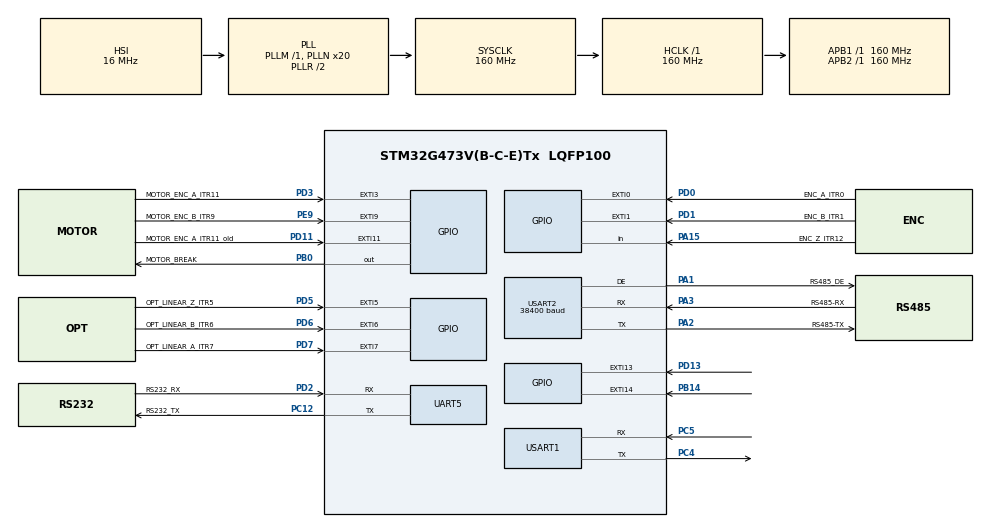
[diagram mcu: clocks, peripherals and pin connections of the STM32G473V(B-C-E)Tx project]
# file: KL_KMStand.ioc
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Mcu.Family=STM32G4
Mcu.Name=STM32G473V(B-C-E)Tx
Mcu.Package=LQFP100
NVIC.EXTI0_IRQn=true\:0\:0\:false\:false\:true\:true\:true\:true
NVIC.EXTI15_10_IRQn=true\:0\:0\:false\:false\:true\:true\:true\:true
NVIC.EXTI1_IRQn=true\:0\:0\:false\:false\:true\:true\:true\:true
NVIC.EXTI3_IRQn=true\:0\:0\:false\:false\:true\:true\:true\:true
NVIC.EXTI9_5_IRQn=true\:0\:0\:false\:false\:true\:true\:true\:true
NVIC.PriorityGroup=NVIC_PRIORITYGROUP_4
NVIC.TIM1_BRK_TIM15_IRQn=true\:0\:0\:false\:false\:true\:true\:true\:true
NVIC.TIM1_CC_IRQn=true\:0\:0\:false\:false\:true\:true\:true\:true
NVIC.TIM1_TRG_COM_TIM17_IRQn=true\:0\:0\:false\:false\:true\:true\:true\:true
NVIC.TIM1_UP_TIM16_IRQn=true\:0\:0\:false\:false\:true\:true\:true\:true
NVIC.TIM2_IRQn=true\:0\:0\:false\:false\:true\:true\:true\:true
NVIC.TIM4_IRQn=true\:0\:0\:false\:false\:true\:true\:true\:true
NVIC.UART5_IRQn=true\:0\:0\:false\:false\:true\:true\:true\:true
NVIC.USART1_IRQn=true\:0\:0\:false\:false\:true\:true\:true\:true
NVIC.USART2_IRQn=true\:0\:0\:false\:false\:true\:true\:true\:true
PA15.GPIO_Label=ENC_Z_ITR12
PA15.Signal=GPIO_Input
PB0.GPIO_Label=MOTOR_BREAK
PB0.GPIO_ModeDefaultOutputPP=GPIO_MODE_OUTPUT_PP
PB0.GPIO_PuPd=GPIO_PULLDOWN
PB0.PinState=GPIO_PIN_SET
PB0.Signal=GPIO_Output
PA3.GPIO_Label=RS485-RX
PA3.Mode=Asynchronous
PA3.Signal=USART2_RX
PB14.GPIO_ModeDefaultEXTI=GPIO_MODE_IT_FALLING
PB14.Signal=GPXTI14
PB3.Signal=SPI3_SCK
PB4.Signal=SPI3_MISO
PC12.GPIO_Label=RS232_TX
PC12.Mode=Asynchronous
PC12.Signal=UART5_TX
PC4.Mode=Asynchronous
PC4.Signal=USART1_TX
PC5.Mode=Asynchronous
PC5.Signal=USART1_RX
PD0.GPIO_Label=ENC_A_ITR0
PD0.GPIO_ModeDefaultEXTI=GPIO_MODE_IT_RISING_FALLING
PD0.GPIO_PuPd=GPIO_NOPULL
PD0.Signal=GPXTI0
PD1.GPIO_Label=ENC_B_ITR1
PD1.GPIO_ModeDefaultEXTI=GPIO_MODE_IT_RISING_FALLING
PD1.GPIO_PuPd=GPIO_NOPULL
PD1.Signal=GPXTI1
PD11.GPIO_Label=MOTOR_ENC_A_ITR11_old
PD11.GPIO_ModeDefaultEXTI=GPIO_MODE_IT_RISING
PD11.Signal=GPXTI11
PA1.GPIO_Label=RS485_DE
PA1.Mode=Hardware Flow Control (RS485)
PA1.Signal=USART2_DE
PD13.GPIO_ModeDefaultEXTI=GPIO_MODE_IT_FALLING
PD13.Signal=GPXTI13
PD2.GPIO_Label=RS232_RX
PD2.Mode=Asynchronous
PD2.Signal=UART5_RX
PD3.GPIO_Label=MOTOR_ENC_A_ITR11
PD3.GPIO_ModeDefaultEXTI=GPIO_MODE_IT_RISING_FALLING
PD3.Signal=GPXTI3
PD5.GPIO_Label=OPT_LINEAR_Z_ITR5
PD5.GPIO_ModeDefaultEXTI=GPIO_MODE_IT_RISING
PD5.Signal=GPXTI5
PD6.GPIO_Label=OPT_LINEAR_B_ITR6
PD6.Signal=GPXTI6
PD7.GPIO_Label=OPT_LINEAR_A_ITR7
PD7.Signal=GPXTI7
PA2.GPIO_Label=RS485-TX
PA2.Mode=Asynchronous
PA2.Signal=USART2_TX
PE9.GPIO_Label=MOTOR_ENC_B_ITR9
PE9.GPIO_ModeDefaultEXTI=GPIO_MODE_IT_RISING_FALLING
PE9.Signal=GPXTI9
ProjectManager.HeapSize=0x200
ProjectManager.StackSize=0x400
ProjectManager.TargetToolchain=STM32CubeIDE
RCC.ADC12Freq_Value=160000000
RCC.ADC345Freq_Value=160000000
RCC.AHBFreq_Value=160000000
RCC.APB1Freq_Value=160000000
RCC.APB1TimFreq_Value=160000000
RCC.APB2Freq_Value=160000000
RCC.APB2TimFreq_Value=160000000
RCC.CortexFreq_Value=160000000
RCC.EXTERNAL_CLOCK_VALUE=12288000
RCC.HCLKFreq_Value=160000000
RCC.HSE_VALUE=8000000
RCC.HSI48_VALUE=48000000
RCC.HSI_VALUE=16000000
RCC.LSE_VALUE=32768
RCC.PLLN=20
RCC.SYSCLKFreq_VALUE=160000000
RCC.SYSCLKSource=RCC_SYSCLKSOURCE_PLLCLK
RCC.USBFreq_Value=160000000
RCC.VCOOutputFreq_Value=320000000
TIM1.AutoReloadPreload=TIM_AUTORELOAD_PRELOAD_DISABLE
TIM1.PeriodNoDither=49999
TIM1.Prescaler=319
TIM2.AutoReloadPreload=TIM_AUTORELOAD_PRELOAD_DISABLE
TIM2.ClockDivision=TIM_CLOCKDIVISION_DIV1
TIM2.PeriodNoDither=8499999
TIM2.Prescaler=1
USART1.VirtualMode-Asynchronous=VM_ASYNC
USART2.BaudRate=38400
USART2.VirtualMode-Asynchronous=VM_ASYNC
USART2.VirtualMode-Hardware\ Flow\ Control\ (RS485)=VM_ASYNC
VP_SYS_VS_DBSignals.Mode=DisableDeadBatterySignals
VP_TIM1_VS_ClockSourceINT.Mode=Internal
VP_TIM2_VS_ClockSourceINT.Mode=Internal
VP_TIM4_VS_ClockSourceINT.Mode=Internal
board=custom

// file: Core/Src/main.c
/* USER CODE BEGIN Header */
/**
  ******************************************************************************
  * @file           : main.c
  * @brief          : Main program body
  ******************************************************************************
  * @attention
  *
  * Copyright (c) 2025 STMicroelectronics.
  * All rights reserved.
  *
  * This software is licensed under terms that can be found in the LICENSE file
  * in the root directory of this software component.
  * If no LICENSE file comes with this software, it is provided AS-IS.
  *
  ******************************************************************************
  */
/* USER CODE END Header */
#include "main.h"
#include "tim.h"
#include "usart.h"
#include "gpio.h"

/* USER CODE BEGIN Includes */
#include <device.h>
#include <stdbool.h>
#include <string.h>
#include <math.h>
#include "mb.h"
#include "mbport.h"
#include "hx711.h"
#include "parser.h"
//#include
/* USER CODE END Includes */

/* USER CODE BEGIN PD */
#define UART_START_BYTE 0xFE
#define UART_STOP_BYTE 0xFF
#define UART_TX_BUF_LEN 3 + sizeof(uint32_t) + sizeof(long int)

#define SLAVE_ID    1
#define MODBUS_FUNC_WRITE_REG  0x06
#define SLAVE_ADDR  1
#define STREAM_PERIOD_MS 100U
#define MODE1_SEEK_MIN_SPEED 50
#define MODE1_SEEK_MIN_OFFSET_DEG 1.0f
#define MODE1_SEEK_MIN_TOL_DEG 0.5f
#define MODE1_FREQ_RPM_SCALE 1.0f
#define MODE1_PID_DEFAULT_P 30.0f
#define MODE1_PID_DEFAULT_I 1.0f
#define MODE1_PID_DEFAULT_D 5.0f// 0.0f
#define MODE1_PID_BASE_SPEED 50.0f
#define MODE1_MOTOR_COMMAND_SCALE 1.10f
#define MODE1_MOTOR_SPEED_MIN 1.0f
#define MODE1_MOTOR_SPEED_MAX 1500.0f
#define MODE1_PID_INTEGRAL_LIMIT 100.0f
/* Each ramp covers 20% of the angular stroke. */
#define MODE1_RAMP_FRACTION 0.20f
#define MODE1_CREEP_RPM_RATIO 0.05f
#define MODE2_ANGLE_TOL_DEG 0.5f
#define MODE2_DEFAULT_SPEED 50.0f
/* USER CODE END PD */

void SystemClock_Config(void);
/* USER CODE BEGIN PFP */
extern volatile hx711_t hx711_handle;
/* USER CODE END PFP */

/* USER CODE BEGIN 0 */
extern volatile long int optical_count;
extern volatile bool new_data;
extern volatile int32_t encoder_position;  // текущая позиция энкодера
extern volatile int32_t last_position;     // позиция на предыдущем измерении
extern volatile float encoder_rpm;      // скорость вращения
extern volatile uint32_t last_tick;
extern volatile int32_t motor_encoder_position;  // текущая позиция энкодера
extern volatile int32_t motor_last_position;     // позиция на предыдущем измерении
extern volatile float motor_encoder_rpm;      // скорость вращения
extern volatile uint32_t motor_last_tick;
extern volatile bool encoder_calibrated;
int32_t mode1_start = 0;

//Основные переменные характеризующие состояние стенда
extern volatile int opt_lim_1;// пределы шкалы оптической линейки
extern volatile int opt_lim_2;
volatile float encoder_lim_1 = 0;
volatile float encoder_lim_2 = 0;

extern volatile bool limit_flag_1;//флаги срабатывания концевиков
extern volatile bool limit_flag_2;

extern float tenso_data;//текущая нагрузка
extern float set_tenso_data;//заданная требуемая нагрузка

extern float velocity;//текущая скорость
extern float set_velocity;//заданная тремуемая скорость

extern float position;//текущая позиция
extern float set_default_position;//заданное нулевое положение

extern float angle; //текущий угол
extern float set_angle; //заданное значение угла

int t = 0;
int t0 = 0;
int v0 = 10;
int v1 = 50;
int time1 = 1;

float zero_position = 0.0;
volatile int state = 0;
int prev_state = 0;
int step = 1;
int amplitude;
int angle_amplitude;
int regime;
int direction;
int count = 0;
int pull_number;
int set_current = 60;
volatile int stop_count = 0;
int opt_flag_1 = 0;
int opt_flag_2 = 0;
int z1 = 0;
uint8_t rx_byte = 0;
int control = 0;
int dir_ctrl = 1;
int start_tick;
int ramp = 0;
float k_p = 0.2;
int x1 = 0;
float angle_velocity;
float min_angle = 0;
float max_angle = 0;
float angle_velocity_ref;
float mode1_pid_integral = 0.0f;
float mode1_pid_prev_measurement = 0.0f;
uint32_t mode1_pid_last_tick = 0;
float mode1_profile_rpm = 0.0f;
uint32_t mode1_profile_last_tick = 0;

#pragma pack(push, 1)

typedef struct {
    float min_angle;
    float max_angle;
    float freq;
    int count;
    float moment;
} mode1_config_t;

typedef struct {
    float speed;
    float start_angle;
    float end_angle;
    uint32_t hold_ms;
} mode2_config_t;

typedef struct {
    float torque;
    uint32_t duration;
    uint8_t direction;
} torque_t;

typedef struct {
    int ts_ms;
    float load;
    float pos;
    float angle1;
    float angle2;
    float temp;
    uint16_t flags;
    uint32_t cycles;
    /* Optional diagnostics appended after the compatible 30-byte prefix. */
    float target_deg_s;
    float motor_rpm;
    int32_t motor_command;
    uint16_t control_flags; /* bit0: Mode1 tracking, bit1: speed limit,
                              bit2: UART busy, bit3: UART error/timeout */
} stream_data_t;

typedef struct {
    float p;
    float i;
    float d;
} pid_t;

#pragma pack(pop)

_Static_assert(sizeof(stream_data_t) == 44U, "Telemetry layout must match the desktop decoder");

mode1_config_t g_mode1_cfg;
mode2_config_t g_mode2_cfg;
torque_t       g_torque_cmd;
pid_t          g_pid_cfg = {MODE1_PID_DEFAULT_P, MODE1_PID_DEFAULT_I, MODE1_PID_DEFAULT_D};
stream_data_t  g_stream_data;
volatile int requested_mode_after_calib = 0;
uint32_t last_stream_tick = 0;

enum states
{
	INITIALIZATION = 0x00,
	CALIBRATION = 0x01,
	MODE1_CONFIG = 0x10,
	MODE1_START = 0x11,
	MODE1_STOP = 0x12,
	MODE2_CONFIG = 0x20,
	MODE2_START = 0x21,
	MODE2_HOLD = 0x22,
	MODE2_RETURN = 0x23,
	MODE2_STOP = 0x24,
	MODE3_CONFIG = 0x30,
	MODE3_START = 0x31,
	MODE3_STOP = 0x32,
	ACK = 0x33,
	STREAM_DATA = 0x40
};

enum calibration_states
{
	RIGHT_RUN_FAST_CALIB = 0,
	RIGHT_RUN_SLOW_CALIB,
	LEFT_RUN_FAST_CALIB,
	LEFT_RUN_SLOW_CALIB,
	RIGHT_LOGIC,
	LEFT_LOGIC,
	END
};

enum mode2_phases
{
	MODE2_PHASE_IDLE = 0,
	MODE2_PHASE_SEEK_START_THEN_END,
	MODE2_PHASE_MOVE_TO_END,
	MODE2_PHASE_MOVE_TO_START
};

uint8_t calib_state = 0;
uint8_t calib_state_prev = 0;
uint8_t non_limit_switch_motion = 0;
uint8_t motion_ctrl = 1;
uint8_t lside = 0;
uint8_t mode1_seek_min = 0;
uint8_t mode2_configured = 0;
uint8_t mode2_phase = MODE2_PHASE_IDLE;
uint8_t mode2_next_target_is_end = 0;
uint8_t mode2_first_run = 0;
volatile uint8_t mode2_stop_requested = 0;
volatile uint8_t tenso_zero_requested = 0;
volatile uint8_t emergency_stop_requested = 0;
volatile uint8_t emergency_stop_reason = STOP_REASON_NONE;
volatile int8_t motor_motion_direction = 0;
float mode2_target_angle = 0.0f;

mode1_config_t cfg;

static float Mode1_AbsFloat(float value);
static void Mode1_ResetPid(void);
static int Mode1_GetPidMotorSpeed(float target_encoder_rpm);
static void Mode1_ResetProfile(void);
static float Mode1_GetProfileSpeed(void);
static float ClampAngleToCalibratedRange(float target);
static void EmergencyStopNow(uint8_t reason);
static uint8_t SafeMotorMove(int current, int velocity, int direction);
static void Mode2_ResetToStartState(void);
static void Mode2_StopAndResetToStart(void);
static void Mode2_BeginNextMove(void);

void Mode1_Handle(const mode1_config_t* cfg)
{
    g_mode1_cfg = *cfg;
}

void Mode2_Handle(const mode2_config_t* cfg)
{
    g_mode2_cfg = *cfg;
}

void Torque_Handle(const torque_t* t)
{
    g_torque_cmd = *t;
}

void PID_Handle(const pid_t* pid)
{
    g_pid_cfg = *pid;
    if ((g_pid_cfg.p == 0.0f) && (g_pid_cfg.i == 0.0f) && (g_pid_cfg.d == 0.0f))
    {
        g_pid_cfg.p = MODE1_PID_DEFAULT_P;
        g_pid_cfg.i = MODE1_PID_DEFAULT_I;
        g_pid_cfg.d = MODE1_PID_DEFAULT_D;
    }
    Mode1_ResetPid();
}

void Stream_Handle(const stream_data_t* data)
{
    g_stream_data = *data;
}

static float Mode1_AbsFloat(float value)
{
    return (value < 0.0f) ? -value : value;
}

static void Mode1_ResetPid(void)
{
    mode1_pid_integral = 0.0f;
    mode1_pid_prev_measurement = Mode1_AbsFloat(encoder_rpm);
    mode1_pid_last_tick = HAL_GetTick();
}

/* The square-root braking envelope gives constant angular deceleration.
 * Time-limited acceleration also works when starting inside the stroke. */
static void Mode1_ResetProfile(void)
{
    mode1_profile_rpm = 0.0f;
    mode1_profile_last_tick = HAL_GetTick();
}

static float Mode1_GetProfileSpeed(void)
{
    uint32_t now = HAL_GetTick();
    float dt = (float)(now - mode1_profile_last_tick) / 1000.0f;
    mode1_profile_last_tick = now;
    if (dt > 0.2f)
    {
        dt = 0.2f;
    }

    float ramp_degrees = (max_angle - min_angle) * MODE1_RAMP_FRACTION;
    if (ramp_degrees <= 0.0f || angle_velocity_ref <= 0.0f)
    {
        mode1_profile_rpm = 0.0f;
        return 0.0f;
    }

    /* RPM * 6 = deg/s. v^2 = 2*a*s. */
    float acceleration_rpm_s = 3.0f * angle_velocity_ref * angle_velocity_ref / ramp_degrees;
    float remaining_degrees = (direction > 0) ? max_angle - angle : angle - min_angle;
    if (remaining_degrees < 0.0f)
    {
        remaining_degrees = 0.0f;
    }
    float braking_rpm = sqrtf(acceleration_rpm_s * remaining_degrees / 3.0f);
    /* A small final approach avoids stopping short due to encoder quantization. */
    float creep_rpm = angle_velocity_ref * MODE1_CREEP_RPM_RATIO;
    if (braking_rpm < creep_rpm)
    {
        braking_rpm = creep_rpm;
    }
    if (braking_rpm > angle_velocity_ref)
    {
        braking_rpm = angle_velocity_ref;
    }

    mode1_profile_rpm += acceleration_rpm_s * dt;
    if (mode1_profile_rpm > braking_rpm)
    {
        mode1_profile_rpm = braking_rpm;
    }
    return mode1_profile_rpm;
}

static int Mode1_GetPidMotorSpeed(float target_encoder_rpm)
{
    uint32_t now = HAL_GetTick();
    float dt = (float)(now - mode1_pid_last_tick) / 1000.0f;
    if (dt < 0.001f)
    {
        dt = 0.001f;
    }
    else if (dt > 0.2f)
    {
        dt = 0.2f;
    }
    mode1_pid_last_tick = now;

    if (target_encoder_rpm < 0.0f)
    {
        target_encoder_rpm = 0.0f;
    }

    float measured_encoder_rpm = Mode1_AbsFloat(encoder_rpm);
    float error = target_encoder_rpm - measured_encoder_rpm;

    float previous_integral = mode1_pid_integral;
    mode1_pid_integral += error * dt;
    if (mode1_pid_integral > MODE1_PID_INTEGRAL_LIMIT)
    {
        mode1_pid_integral = MODE1_PID_INTEGRAL_LIMIT;
    }
    else if (mode1_pid_integral < -MODE1_PID_INTEGRAL_LIMIT)
    {
        mode1_pid_integral = -MODE1_PID_INTEGRAL_LIMIT;
    }

    /* Differentiate the measurement to avoid a kick as the profile changes. */
    float derivative = -(measured_encoder_rpm - mode1_pid_prev_measurement) / dt;
    mode1_pid_prev_measurement = measured_encoder_rpm;

    float target_scale = 1.0f;
    if (angle_velocity_ref > 0.001f)
    {
        target_scale = target_encoder_rpm / angle_velocity_ref;
    }
    if (target_scale < 0.0f)
    {
        target_scale = 0.0f;
    }
    else if (target_scale > 1.0f)
    {
        target_scale = 1.0f;
    }

    float motor_speed = MODE1_PID_BASE_SPEED * target_scale
                      + g_pid_cfg.p * error
                      + g_pid_cfg.i * mode1_pid_integral
                      + g_pid_cfg.d * derivative;

    motor_speed *= MODE1_MOTOR_COMMAND_SCALE;

    if (motor_speed < MODE1_MOTOR_SPEED_MIN)
    {
        motor_speed = MODE1_MOTOR_SPEED_MIN;
        if (error < 0.0f)
        {
            mode1_pid_integral = previous_integral;
        }
    }
    else if (motor_speed > MODE1_MOTOR_SPEED_MAX)
    {
        motor_speed = MODE1_MOTOR_SPEED_MAX;
        if (error > 0.0f)
        {
            mode1_pid_integral = previous_integral;
        }
    }

    return (int)motor_speed;
}

static float ClampAngleToCalibratedRange(float target)
{
    if (!encoder_calibrated)
    {
        return target;
    }

    float mech_min = 180.0f;
    float mech_max = encoder_lim_2 - encoder_lim_1 + 180.0f;
    if (mech_min > mech_max)
    {
        float tmp = mech_min;
        mech_min = mech_max;
        mech_max = tmp;
    }
    if (target < mech_min)
    {
        return mech_min;
    }
    if (target > mech_max)
    {
        return mech_max;
    }
    return target;
}

static void Mode2_ResetToStartState(void)
{
    mode2_phase = MODE2_PHASE_IDLE;
    mode2_next_target_is_end = 0;
    mode2_first_run = 0;
    state = ACK;
    prev_state = MODE2_STOP;
}

static void Mode2_StopAndResetToStart(void)
{
    Motor_Stop();
    Mode2_ResetToStartState();
}

static void Mode2_BeginNextMove(void)
{
    if (!mode2_configured || !encoder_calibrated)
    {
        mode2_stop_requested = 1;
        Mode2_ResetToStartState();
        return;
    }

    set_velocity = g_mode2_cfg.speed;
    if (set_velocity <= 0.0f)
    {
        set_velocity = MODE2_DEFAULT_SPEED;
        g_mode2_cfg.speed = MODE2_DEFAULT_SPEED;
    }

    g_mode2_cfg.start_angle = ClampAngleToCalibratedRange(g_mode2_cfg.start_angle);
    g_mode2_cfg.end_angle = ClampAngleToCalibratedRange(g_mode2_cfg.end_angle);

    if (mode2_first_run)
    {
        mode2_phase = MODE2_PHASE_SEEK_START_THEN_END;
        mode2_target_angle = g_mode2_cfg.start_angle;
    }
    else if (mode2_next_target_is_end)
    {
        mode2_phase = MODE2_PHASE_MOVE_TO_END;
        mode2_target_angle = g_mode2_cfg.end_angle;
    }
    else
    {
        mode2_phase = MODE2_PHASE_MOVE_TO_START;
        mode2_target_angle = g_mode2_cfg.start_angle;
    }

    state = MODE2_START;
    prev_state = ACK;
}

void UpdateLimitFlagsFromPins(void)
{
    if (HAL_GPIO_ReadPin(GPIOD, GPIO_PIN_13) == GPIO_PIN_RESET)
    {
        limit_flag_1 = 1;
    }
    if (HAL_GPIO_ReadPin(GPIOB, GPIO_PIN_14) == GPIO_PIN_RESET)
    {
        limit_flag_2 = 1;
    }
}

static void EmergencyStopNow(uint8_t reason)
{
    emergency_stop_requested = 0;
    emergency_stop_reason = reason;

    mode1_seek_min = 0;
    Mode1_ResetPid();
    motor_motion_direction = 0;
    mode2_stop_requested = 0;
    mode2_phase = MODE2_PHASE_IDLE;
    mode2_next_target_is_end = 0;
    mode2_first_run = 0;

    Motor_Stop();
    HAL_GPIO_WritePin(MOTOR_BREAK_GPIO_Port, MOTOR_BREAK_Pin, GPIO_PIN_RESET);

    prev_state = state;
    state = ACK;
}

static uint8_t SafeMotorMove(int current, int velocity, int direction)
{
    int8_t requested_direction = 0;
    uint8_t limit1_active = (HAL_GPIO_ReadPin(GPIOD, GPIO_PIN_13) == GPIO_PIN_RESET);
    uint8_t limit2_active = (HAL_GPIO_ReadPin(GPIOB, GPIO_PIN_14) == GPIO_PIN_RESET);

    if (limit1_active)
    {
        limit_flag_1 = 1;
    }
    if (limit2_active)
    {
        limit_flag_2 = 1;
    }

    if (direction > 0)
    {
        requested_direction = 1;
    }
    else if (direction < 0)
    {
        requested_direction = -1;
    }

    if ((requested_direction > 0) && limit1_active)
    {
        EmergencyStopNow(STOP_REASON_LIMIT_1);
        return 0;
    }
    if ((requested_direction < 0) && limit2_active)
    {
        EmergencyStopNow(STOP_REASON_LIMIT_2);
        return 0;
    }

    motor_motion_direction = requested_direction;
    Motor_Move(current, velocity, direction);
    return 1;
}

void StartCalibrationForMode(int target_mode)
{
    requested_mode_after_calib = target_mode;
    regime = target_mode;
    mode1_start = 0;
    mode1_seek_min = 0;
    motor_motion_direction = 0;
    encoder_calibrated = false;
    Encoder_ResetRPMFilter();
    calib_state = RIGHT_RUN_FAST_CALIB;
    calib_state_prev = RIGHT_RUN_FAST_CALIB;
    non_limit_switch_motion = 0;
    motion_ctrl = 1;
    limit_flag_1 = 0;
    limit_flag_2 = 0;
    prev_state = ACK;
    UpdateLimitFlagsFromPins();
    if (limit_flag_1 && !limit_flag_2)
    {
        calib_state = LEFT_RUN_FAST_CALIB;
        calib_state_prev = RIGHT_RUN_FAST_CALIB;
        non_limit_switch_motion = 1;
    }
    else if (limit_flag_2 && !limit_flag_1)
    {
        calib_state = RIGHT_RUN_FAST_CALIB;
        calib_state_prev = LEFT_RUN_FAST_CALIB;
        non_limit_switch_motion = 1;
    }
    state = CALIBRATION;
}

void packet_callback(uint8_t msg_type, uint8_t *payload, uint8_t size)
{
    switch(msg_type)
    {
        case 0x01: // CALIBRATION
        {
            StartCalibrationForMode(ACK);
            break;
        }

        case 0x10: // MODE1_CONFIG
        {
            if (size >= sizeof(mode1_config_t))
            {
                memcpy(&cfg, payload, sizeof(cfg));
                Mode1_Handle(&cfg);
                requested_mode_after_calib = 0;
                state = ACK;
                prev_state = MODE1_CONFIG;
            }

            break;
        }

        case 0x20: // MODE2_CONFIG
        {
            if (size >= sizeof(mode2_config_t))
            {
                mode2_config_t cfg;
                memcpy(&cfg, payload, sizeof(cfg));
                Mode2_Handle(&cfg);
                if (g_mode2_cfg.speed <= 0.0f)
                {
                    g_mode2_cfg.speed = MODE2_DEFAULT_SPEED;
                }
                set_velocity = g_mode2_cfg.speed;
                set_angle = g_mode2_cfg.start_angle;
                set_tenso_data = g_mode2_cfg.end_angle;
                mode2_configured = 1;
                mode2_phase = MODE2_PHASE_IDLE;
                mode2_next_target_is_end = 0;
                mode2_first_run = 1;
                requested_mode_after_calib = 0;
                state = ACK;
                prev_state = MODE2_CONFIG;
            }
            break;
        }

        case 0x11: // MODE1_START
        {
            if (encoder_calibrated)
            {
                state = MODE1_CONFIG;
            }
            else
            {
                Motor_Stop();
                state = ACK;
            }
            prev_state = ACK;
            break;
        }

        case 0x12: // MODE1_STOP
        {
            requested_mode_after_calib = 0;
            mode1_start = 0;
            mode1_seek_min = 0;
            Mode1_ResetPid();
            state = ACK;
            prev_state = MODE1_STOP;
            break;
        }

        case 0x21: // MODE2_START
        {
            Mode2_BeginNextMove();
            break;
        }

        case 0x22: // MODE2_STOP from UI
        case 0x24: // MODE2_STOP in firmware enum
        {
            requested_mode_after_calib = 0;
            mode2_stop_requested = 1;
            Mode2_ResetToStartState();
            break;
        }

        case 0x07: // TENSO_ZERO
        {
            tenso_zero_requested = 1;
            break;
        }

        case 0x32: // TORQUE
        {
            if (size >= sizeof(torque_t))
            {
                torque_t cmd;
                memcpy(&cmd, payload, sizeof(cmd));
                Torque_Handle(&cmd);
            }
            break;
        }

        case 0x06: // PID CONFIG
        {
            if (size >= sizeof(pid_t))
            {
                pid_t pid;
                memcpy(&pid, payload, sizeof(pid));
                PID_Handle(&pid);
            }
            break;
        }

        case 0x30: // STREAM
        {
            if (size >= sizeof(stream_data_t))//не заходит в if
            {
                stream_data_t data;
                memcpy(&data, payload, sizeof(data));
                Stream_Handle(&data);
            }
            break;
        }

        default:
            break;
    }
}

/* USER CODE END 0 */

int main(void)
{

  /* USER CODE BEGIN 1 */
 //uint8_t data []= {1,1,1};
 //send_uart_packet(0x00, data, 3, &huart1);
  /* USER CODE END 1 */

  /* MCU Configuration--------------------------------------------------------*/

  /* Reset of all peripherals, Initializes the Flash interface and the Systick. */
  HAL_Init();

  /* Configure the system clock */
  SystemClock_Config();

  /* Initialize all configured peripherals */
  MX_GPIO_Init();
  MX_UART5_Init();
  MX_USART2_UART_Init();
  MX_USART1_UART_Init();
  MX_TIM4_Init();
  MX_TIM2_Init();
  MX_TIM1_Init();
  /* USER CODE BEGIN 2 */
  parser_set_callback(packet_callback);
  HAL_UART_Receive_IT(&huart1, &rx_byte, 1);

  HAL_GPIO_WritePin(MOTOR_BREAK_GPIO_Port, MOTOR_BREAK_Pin, GPIO_PIN_SET);

  hx711_init(&hx711_handle, HX711_CLK_GPIO_Port, HX711_CLK_Pin, HX711_DOUT_GPIO_Port, HX711_DOUT_Pin);
  hx711_coef_set(&hx711_handle, 354.5); // read afer calibration
  hx711_tare(&hx711_handle, 10);
  Tenso_ResetAverage();

  /* USER CODE END 2 */

  /* Infinite loop */
  /* USER CODE BEGIN WHILE */

  HAL_Delay(500);

  HAL_TIM_Base_Start_IT(&htim1);

  state = INITIALIZATION;
  while (1)
  {
    /* USER CODE END WHILE */

    /* USER CODE BEGIN 3 */

	  /* механическая проверка энкодера

	  int32_t ticks = Encoder_GetPosition();
	  uint8_t enc_a = HAL_GPIO_ReadPin(ENC_A_ITR0_GPIO_Port, ENC_A_ITR0_Pin);
	  uint8_t enc_b = HAL_GPIO_ReadPin(ENC_B_ITR1_GPIO_Port, ENC_B_ITR1_Pin);
	  float angle_deg = -360.0f * (float)ticks / 4000.0f;
	  char angle_buffer[96];
	  int angle_len = snprintf(angle_buffer, sizeof(angle_buffer),
	                           "Ticks:%ld A:%u B:%u Angle:%.3f\r\n",
	                           ticks, enc_a, enc_b, angle_deg);
	  HAL_UART_Transmit(&huart1, (uint8_t*)angle_buffer, angle_len, HAL_MAX_DELAY);
	  HAL_Delay(1000);

	  */

	  if (emergency_stop_requested)
	  {
		  EmergencyStopNow(emergency_stop_reason);
	  }

	  if (mode2_stop_requested)
	  {
		  mode2_stop_requested = 0;
		  Mode2_StopAndResetToStart();
	  }

	  if (tenso_zero_requested)
	  {
		  tenso_zero_requested = 0;
		  Tenso_CalibrateZero();
	  }

	  uint32_t now = HAL_GetTick();
	  if ((now - last_stream_tick) >= STREAM_PERIOD_MS)
	  {
		  last_stream_tick = now;
		  tenso_data = Tenso_UpdateAverage();
		  g_stream_data.ts_ms = (int)now;
		  g_stream_data.load = Tenso_in_kg(tenso_data);
		  g_stream_data.pos = (float)optical_count;
		  g_stream_data.angle1 = angle;
		  g_stream_data.angle2 = encoder_rpm;
		  g_stream_data.temp = 0.0f;
		  g_stream_data.flags = ((uint16_t)(calib_state) << 8) | ((uint16_t)state & 0x00FF);
		  g_stream_data.cycles = (uint32_t)(count / 2);
          uint8_t tracking = (state == MODE1_START && !mode1_seek_min);
          int32_t motor_command = Motor_GetCommandVelocity();
          HAL_StatusTypeDef tx_status = Motor_GetLastTxStatus();
          g_stream_data.target_deg_s = tracking ? direction * mode1_profile_rpm * 6.0f : 0.0f;
          g_stream_data.motor_rpm = motor_encoder_rpm;
          g_stream_data.motor_command = motor_command;
          g_stream_data.control_flags = tracking ? 1U : 0U;
          if (tracking && Mode1_AbsFloat((float)motor_command) >= MODE1_MOTOR_SPEED_MAX)
          {
              g_stream_data.control_flags |= 2U;
          }
          if (tx_status == HAL_BUSY)
          {
              g_stream_data.control_flags |= 4U;
          }
          else if (tx_status != HAL_OK)
          {
              g_stream_data.control_flags |= 8U;
          }
		  send_uart_packet(STREAM_DATA, (uint8_t*)&g_stream_data, sizeof(g_stream_data), &huart1);
	  }

	switch(state)
	{
		case(INITIALIZATION):
		{
			//Добавить ввод данных(Режим работы, скорость, усилие)
			//Добавить вывод всех данных
			//set_tenso_data = 0;
			//set_default_position = 0;
			//angle_velocity = 1;
			//set_angle = 0;
			//amplitude = 30000;
			//pull_number = 5;

			set_velocity = 200;
			regime = ACK;
			requested_mode_after_calib = 0;
			mode1_start = 0;
			mode1_seek_min = 0;
			Mode1_ResetPid();
			Encoder_Init();
			Motor_Stop();
			// state = MODE3_CONFIG;
			state = ACK;
			prev_state = INITIALIZATION;
			break;
		}
		case(CALIBRATION):
		{
			UpdateLimitFlagsFromPins();
			if (x1 < 1000000)
			{
				x1++;
			}
			else
			{
				// UI UART uses framed packets only.
				x1 = 0;
			}
			switch(calib_state)
			{
			case(RIGHT_RUN_FAST_CALIB):
			{
				if(limit_flag_1)
				{	Motor_Stop(); // добавил
					calib_state = RIGHT_LOGIC;
					calib_state_prev = RIGHT_RUN_FAST_CALIB;
					motion_ctrl = 1;
				}
				else if(motion_ctrl)
				{
					Motor_Move(set_current, set_velocity, 1); // 1 или -1 -- направление движения
					motion_ctrl = 0;
				}
				if(non_limit_switch_motion)
				{
					if(motion_ctrl)
					{
						Motor_Move(set_current, set_velocity, 1);
						motion_ctrl = 0;
					}
					HAL_Delay(3000);
					//TODO: ПЕРЕДЕЛАТЬ НА ОПРОС ТЙМЕРА ПО ТИКАМ ДЛЯ ТОГО ЧТО БЫ НЕ БЛОКАТЬ РАБОТУ
					calib_state = LEFT_LOGIC;
					calib_state_prev = RIGHT_RUN_FAST_CALIB;
					motion_ctrl = 1;
					non_limit_switch_motion = 0;
				}
				break;
			}

			case(LEFT_RUN_FAST_CALIB):
			{
				if(non_limit_switch_motion)
				{
					if(motion_ctrl)
					{
						Motor_Move(set_current, set_velocity, -1);
						motion_ctrl = 0;
					}
					HAL_Delay(3000);
					//TODO: ПЕРЕДЕЛАТЬ НА ОПРОС ТЙМЕРА ПО ТИКАМ ДЛЯ ТОГО ЧТО БЫ НЕ БЛОКАТЬ РАБОТУ
					calib_state = RIGHT_LOGIC;
					calib_state_prev = LEFT_RUN_FAST_CALIB;
					motion_ctrl = 1;
					non_limit_switch_motion = 0;
				}
				else if(limit_flag_2)
				{
					Motor_Stop(); // добавил
					calib_state = LEFT_LOGIC;
					calib_state_prev = LEFT_RUN_FAST_CALIB;
					motion_ctrl = 1;
				}
				else if(motion_ctrl)
				{
					Motor_Move(set_current, set_velocity, -1);
					motion_ctrl = 0;
				}
				break;
			}

			case(RIGHT_RUN_SLOW_CALIB):
			{
				if(limit_flag_1)
				{
					Motor_Stop(); // добавил
					opt_lim_1 = optical_count;
					encoder_lim_1 = angle;
					calib_state = RIGHT_LOGIC;
					calib_state_prev = RIGHT_RUN_SLOW_CALIB;
					motion_ctrl = 1;
				}
				else if(motion_ctrl)
				{
					Motor_Move(set_current, set_velocity/5, 1);
					motion_ctrl = 0;
				}
				break;
			}

			case(LEFT_RUN_SLOW_CALIB):
			{
				if(limit_flag_2)
				{
					Motor_Stop(); // добавил
					opt_lim_2 = optical_count;
					encoder_lim_2 = angle;
					calib_state = LEFT_LOGIC;
					calib_state_prev = LEFT_RUN_SLOW_CALIB;
					motion_ctrl = 1;
				}
				else if(motion_ctrl)
				{
					Motor_Move(set_current, set_velocity/5, -1);
					motion_ctrl = 0;
				}
				break;
			}
			case (RIGHT_LOGIC):
			{
				limit_flag_1 = 0;
				limit_flag_2 = 0;
				if(calib_state_prev == RIGHT_RUN_FAST_CALIB)
				{
					calib_state = LEFT_RUN_FAST_CALIB;
					non_limit_switch_motion = 1;

				}
				else if(calib_state_prev == LEFT_RUN_FAST_CALIB)
				{
					calib_state = RIGHT_RUN_SLOW_CALIB;

				}
				else if(calib_state_prev == RIGHT_RUN_SLOW_CALIB)
				{
					calib_state = LEFT_RUN_FAST_CALIB;

				}
			break;
			}

			case(LEFT_LOGIC):
			{
				motion_ctrl = 1;
				limit_flag_1 = 0;
				limit_flag_2 = 0;
				if(calib_state_prev == LEFT_RUN_FAST_CALIB)
				{
					calib_state = RIGHT_RUN_FAST_CALIB;
					non_limit_switch_motion = 1;
				}
				else if(calib_state_prev == RIGHT_RUN_FAST_CALIB)
				{
					calib_state = LEFT_RUN_SLOW_CALIB;
				}
				else if(calib_state_prev == LEFT_RUN_SLOW_CALIB)
				{
					calib_state = END;
				}
				break;
			}

			case(END):
			{
				//state = ACK;
				//prev_state = CALIBRATION;
				//Motor_Move(set_current, set_velocity, 1);
				//HAL_Delay(5000);
				//if (optical_count < set_default_position)
				//{
				Motor_Stop();
				encoder_calibrated = true;
				Encoder_ResetRPMFilter();
				prev_state = CALIBRATION;
				if (requested_mode_after_calib == MODE1_CONFIG)
				{
					state = MODE1_CONFIG;
				}
				else if (requested_mode_after_calib == MODE2_CONFIG)
				{
					state = MODE2_CONFIG;
				}
				else
				{
					state = ACK;
				}
				requested_mode_after_calib = 0;
				//}
				break;
			}
			}
			//двигаемся в сторону 1 концевика, когда дошли(limit_flag = 1), останавливаемся, записываем данные с линейки в opt_lim_1, так же в другую сторону.
			/*if(stop_count == 0)
			{
				Motor_Move(set_current, set_velocity, 1);
				stop_count++;
			}
			if(stop_count == 2)
			{
				Motor_Move(set_current, set_velocity, -1);
				z1 = 0;
				while(z1 < 1000000000/set_velocity)
				{
					__NOP();
					z1++;
				}
				Motor_Stop();
				Motor_Move(set_current, set_velocity/5, 1);
				stop_count++;
			}
			if(stop_count == 4)
			{
				if(opt_flag_1 == 0)
				{
					opt_lim_1 = optical_count;
					opt_flag_1++;
				}
				z1 = 0;

				Motor_Move(set_current, set_velocity, -1);
				stop_count++;

			}
			if(stop_count == 6)
			{
				Motor_Move(set_current, set_velocity, 1);
				z1 = 0;
				while(z1 < 1000000000/set_velocity)
				{
					__NOP();
					z1++;
				}
				Motor_Stop();
				Motor_Move(set_current, set_velocity/5, -1);
				stop_count++;
			}
			if(stop_count == 8)
			{
				if(opt_flag_2 == 0)
				{
					opt_lim_2 = optical_count;
					opt_flag_2++;
				}
				z1 = 0;
				while(z1 < 1000000000/set_velocity)
				{
					__NOP();
					z1++;
				}
				Motor_Move(set_current, set_velocity, 1);
			}
			if((position > 0) && (opt_flag_1 == 1) && (opt_flag_2 == 1))
			{
			    char buffer3[64];
			    int len3 = snprintf(buffer3, sizeof(buffer3), "Opt linear: %ld, %ld\n", opt_lim_1, opt_lim_2);
				HAL_UART_Transmit(&huart1, (uint8_t*)buffer3, len3, HAL_MAX_DELAY);
				Motor_Stop();
				state = ACK;
				prev_state = CALIBRATION;

			}*/

			break;
		}

		case(MODE1_CONFIG):
		{
			//min_angle = cfg.min_angle;
			//max_angle = cfg.max_angle;
			//pull_number = cfg.count;
			//angle_velocity = (cfg.max_angle - cfg.min_angle) * (2 *cfg.freq)  * 60;
			//direction = 1;
			//count = 0;
			//motion_ctrl = 1;

			min_angle = g_mode1_cfg.min_angle;
			max_angle = g_mode1_cfg.max_angle;
			if (encoder_calibrated)
			{
				float mech_min = 180.0f;
				float mech_max = encoder_lim_2 - encoder_lim_1 + 180.0f;
				if (mech_min > mech_max)
				{
					float tmp = mech_min;
					mech_min = mech_max;
					mech_max = tmp;
				}
				if (min_angle < mech_min)
				{
					min_angle = mech_min;
				}
				if (max_angle > mech_max)
				{
					max_angle = mech_max;
				}
			}
			if (max_angle <= min_angle)
			{
				Motor_Stop();
				mode1_seek_min = 0;
				state = ACK;
				prev_state = MODE1_CONFIG;
				break;
			}
			set_default_position = optical_count;
			direction = 1;
			motion_ctrl = 0;
			angle_velocity_ref = 20.0f * (1.0f + 2.0f * MODE1_RAMP_FRACTION);
			if (g_mode1_cfg.freq > 0.0f)
			{
				angle_velocity_ref = (max_angle - min_angle) * (2.0f * g_mode1_cfg.freq) / 6.0f * MODE1_FREQ_RPM_SCALE
                                   * (1.0f + 2.0f * MODE1_RAMP_FRACTION);
				if (angle_velocity_ref < 0.1f)
				{
					angle_velocity_ref = 0.1f;
				}
				else if (angle_velocity_ref > 100.0f)
				{
					angle_velocity_ref = 100.0f;
				}
			}
			Mode1_ResetProfile();
			pull_number = g_mode1_cfg.count;
			if (pull_number <= 0)
			{
				pull_number = 1;
			}
			count = 0;
			mode1_seek_min = 1;
			Mode1_ResetPid();

			state = MODE1_START;
			prev_state = MODE1_CONFIG;
			start_tick = HAL_GetTick();
			break;
		}
		case(MODE1_START):
		{
			if (mode1_seek_min)
			{
				float mode1_min_target = min_angle + MODE1_SEEK_MIN_OFFSET_DEG;
				if (mode1_min_target > max_angle)
				{
					mode1_min_target = min_angle;
				}
				if (angle < mode1_min_target - MODE1_SEEK_MIN_TOL_DEG)
				{
					if (!SafeMotorMove(set_current, MODE1_SEEK_MIN_SPEED, 1))
					{
						break;
					}
				}
				else if (angle > mode1_min_target + MODE1_SEEK_MIN_TOL_DEG)
				{
					if (!SafeMotorMove(set_current, MODE1_SEEK_MIN_SPEED, -1))
					{
						break;
					}
				}
				else
				{
					Motor_Stop();
					mode1_seek_min = 0;
					direction = 1;
					motion_ctrl = 1;
					count = 0;
					Encoder_ResetRPMFilter();
					Mode1_ResetPid();
					Mode1_ResetProfile();
				}
				break;
			}
			if((angle < max_angle) && (angle > min_angle))
			{
				motion_ctrl = 1;
			}

			if (angle >= max_angle)
			{
				if(motion_ctrl == 1)
				{
					Motor_Stop();
					direction = -1;
					count++;
					motion_ctrl = 0;
					Mode1_ResetPid();
					Mode1_ResetProfile();
					if (count >= pull_number * 2)
					{
						state = MODE1_STOP;
						prev_state = MODE1_START;
					}
					break;
				}
			}

			if (angle <= min_angle)
			{
				if(motion_ctrl == 1)
				{
					Motor_Stop();
					direction = 1;
					count++;
					motion_ctrl = 0;
					Mode1_ResetPid();
					Mode1_ResetProfile();
					if (count >= pull_number * 2)
					{
						state = MODE1_STOP;
						prev_state = MODE1_START;
					}
					break;
				}
			}

			angle_velocity = Mode1_GetProfileSpeed();

			if (!SafeMotorMove(set_current, Mode1_GetPidMotorSpeed(angle_velocity), direction))
			{
				break;
			}
			/*
			if (optical_count * optical_count < amplitude * amplitude)
			{
				dir_ctrl = 1;
			}

			if((optical_count * optical_count > amplitude * amplitude) && (dir_ctrl == 1))
			{
				direction = -1 * direction;
				count++;
				motion_ctrl = 1;
				dir_ctrl = 0;
				start_tick = HAL_GetTick();
			}
			*/
			if(count >= pull_number * 2)
			{
					state = MODE1_STOP;
					prev_state = MODE1_START;
			}
			if (x1 < 100)
			{
				x1++;
			}
			else
			{
				// UI UART uses framed packets only.
				x1 = 0;
			}
			break;
		}
		case(MODE1_STOP):
		{
			mode1_seek_min = 0;
			Mode1_ResetPid();
			Motor_Stop();
			HAL_GPIO_WritePin(MOTOR_BREAK_GPIO_Port, MOTOR_BREAK_Pin, GPIO_PIN_RESET);

			break;
		}
		case(MODE2_CONFIG):
		{
			// MODE2_CONFIG only stores UI parameters. Movement starts on MODE2_START.
			state = ACK;
			prev_state = MODE2_CONFIG;
			break;
		}
		case(MODE2_START):
		{
			if (!mode2_configured || !encoder_calibrated || (mode2_phase == MODE2_PHASE_IDLE))
			{
				Mode2_StopAndResetToStart();
				break;
			}

			if (set_velocity <= 0.0f)
			{
				set_velocity = MODE2_DEFAULT_SPEED;
			}

			float mode2_error = mode2_target_angle - angle;
			if (Mode1_AbsFloat(mode2_error) <= MODE2_ANGLE_TOL_DEG)
			{
				Motor_Stop();
				if (mode2_phase == MODE2_PHASE_SEEK_START_THEN_END)
				{
					mode2_phase = MODE2_PHASE_MOVE_TO_END;
					mode2_target_angle = g_mode2_cfg.end_angle;
					mode2_error = mode2_target_angle - angle;
					if (Mode1_AbsFloat(mode2_error) > MODE2_ANGLE_TOL_DEG)
					{
						int mode2_direction = (mode2_error > 0.0f) ? 1 : -1;
						if (!SafeMotorMove(set_current, set_velocity, mode2_direction))
						{
							break;
						}
						break;
					}
				}

				mode2_next_target_is_end = (mode2_phase == MODE2_PHASE_MOVE_TO_START) ? 1 : 0;
				mode2_first_run = 0;
				mode2_phase = MODE2_PHASE_IDLE;
				state = MODE2_STOP;
				prev_state = MODE2_START;
				break;
			}

			int mode2_direction = (mode2_error > 0.0f) ? 1 : -1;
			SafeMotorMove(set_current, set_velocity, mode2_direction);
			break;
		}
		case(MODE2_HOLD):
		{
			// Old hold-by-time Mode2 logic is disabled for angle-to-angle mode.
			Motor_Stop();
			state = MODE2_STOP;
			prev_state = MODE2_HOLD;
			break;

			HAL_GPIO_WritePin(MOTOR_BREAK_GPIO_Port, MOTOR_BREAK_Pin, GPIO_PIN_RESET);
			z1 = 0;
			while(z1 < 100000000)//выставить необходимую задержку
			{
				__NOP();
				z1++;
			}
			HAL_GPIO_WritePin(MOTOR_BREAK_GPIO_Port, MOTOR_BREAK_Pin, GPIO_PIN_SET);

			state = MODE2_STOP;//подумать куда
			prev_state = MODE2_STOP;
			break;
		}
		case(MODE2_RETURN):
		{
			// Old optical-count return logic is disabled for angle-to-angle mode.
			Motor_Stop();
			state = MODE2_STOP;
			prev_state = MODE2_RETURN;
			break;

			SafeMotorMove(set_current, set_velocity, -1);//возвращаемся в нулевое положение
			if(optical_count > set_default_position)
			{
				Motor_Stop();
				state = MODE2_STOP;
				prev_state = MODE2_RETURN;
			}
			break;
		}
		case(MODE2_STOP):
		{
			Motor_Stop();
			HAL_GPIO_WritePin(MOTOR_BREAK_GPIO_Port, MOTOR_BREAK_Pin, GPIO_PIN_RESET);
			break;
		}

		case(MODE3_CONFIG):
		{
			t = 0;
			t0 = 0;
			v0 = 10;
			// v1 = 1500;
			v1 = 500;
			time1 = 1;
			t0 = HAL_GetTick();

			state = MODE3_START;
			prev_state = MODE3_CONFIG;
			break;

		}
		case(MODE3_START):
		{
			t = HAL_GetTick();
			if ((t - t0)/1000 < time1)
			{
				if (!SafeMotorMove(set_current, (float)v0 + (float)(t - t0)/1000 * (float)(v1 - v0)/time1, 1))
				{
					break;
				}
			}
			else
			{
				state = MODE3_STOP;
				prev_state = MODE3_START;
				Motor_Stop();
			}

			break;
		}

		case(MODE3_STOP):
		{
			HAL_GPIO_WritePin(MOTOR_BREAK_GPIO_Port, MOTOR_BREAK_Pin, GPIO_PIN_RESET);
			break;
		}
		case(ACK):
		{
			Motor_Stop();
			HAL_GPIO_WritePin(MOTOR_BREAK_GPIO_Port, MOTOR_BREAK_Pin, GPIO_PIN_RESET);
			break;
		}
		case(STREAM_DATA):
		{

			break;
		}
	}

	  if(new_data)
	  {

	      //long int optical_count_buf = optical_count;
	      //char buffer3[64];
	      //int len3 = snprintf(buffer3, sizeof(buffer3), "Opt linear: %ld\n", optical_count_buf);
		  //HAL_UART_Transmit(&huart1, (uint8_t*)buffer3, len3, HAL_MAX_DELAY);

	      //memcpy(tx_buffer + 1 + sizeof(uint32_t), &optical_count_buf, sizeof(long int));
	      //HAL_UART_Transmit(&huart1, tx_buffer, UART_TX_BUF_LEN, HAL_MAX_DELAY);

		  //HAL_Delay(1000);
		  //uint32_t tenso_data = (uint32_t) hx711_value(&hx711_handle);
		  //memcpy(tx_buffer + 1, &tenso_data, sizeof(uint32_t));
		  //HAL_UART_Transmit_IT(&huart1, (uint8_t *) tx_buffer, sizeof(tx_buffer));
		  //HAL_Delay(1000);
/*
		  Encoder_UpdateRPM();
		  char buffer12[64];
		  char buffer22[64];
		  int len2 = snprintf(buffer12, sizeof(buffer12), "Pos: %ld, RPM: %.2f\r\n", encoder_position, encoder_rpm);
		  HAL_UART_Transmit(&huart1, (uint8_t*)buffer12, len2, HAL_MAX_DELAY);
		  int len12 = snprintf(buffer22, sizeof(buffer22), "Motor_Pos: %ld, Motor_RPM: %.2f\r\n", motor_encoder_position, motor_encoder_rpm);
		  HAL_UART_Transmit(&huart1, (uint8_t*)buffer22, len12, HAL_MAX_DELAY);
		  HAL_Delay(100);
		  new_data = false;*/

		  //Encoder_UpdateRPM();
		  /*char buffer1[64];
		  char buffer2[64];
		  int len = snprintf(buffer1, sizeof(buffer1), "Pos: %ld, RPM: %.2f\r\n", encoder_position, encoder_rpm);
		  HAL_UART_Transmit(&huart1, (uint8_t*)buffer1, len, HAL_MAX_DELAY);
		  int len1 = snprintf(buffer2, sizeof(buffer2), "Motor_Pos: %ld, Motor_RPM: %.2f\r\n", motor_encoder_position, motor_encoder_rpm);
		  HAL_UART_Transmit(&huart1, (uint8_t*)buffer2, len1, HAL_MAX_DELAY);
		  //HAL_Delay(100);
		  new_data = false;*/
	  }

  }

  /* USER CODE END 3 */
}

void SystemClock_Config(void)
{
  RCC_OscInitTypeDef RCC_OscInitStruct = {0};
  RCC_ClkInitTypeDef RCC_ClkInitStruct = {0};

  /** Configure the main internal regulator output voltage
  */
  HAL_PWREx_ControlVoltageScaling(PWR_REGULATOR_VOLTAGE_SCALE1_BOOST);

  /** Initializes the RCC Oscillators according to the specified parameters
  * in the RCC_OscInitTypeDef structure.
  */
  RCC_OscInitStruct.OscillatorType = RCC_OSCILLATORTYPE_HSI;
  RCC_OscInitStruct.HSIState = RCC_HSI_ON;
  RCC_OscInitStruct.HSICalibrationValue = RCC_HSICALIBRATION_DEFAULT;
  RCC_OscInitStruct.PLL.PLLState = RCC_PLL_ON;
  RCC_OscInitStruct.PLL.PLLSource = RCC_PLLSOURCE_HSI;
  RCC_OscInitStruct.PLL.PLLM = RCC_PLLM_DIV1;
  RCC_OscInitStruct.PLL.PLLN = 20;
  RCC_OscInitStruct.PLL.PLLP = RCC_PLLP_DIV2;
  RCC_OscInitStruct.PLL.PLLQ = RCC_PLLQ_DIV2;
  RCC_OscInitStruct.PLL.PLLR = RCC_PLLR_DIV2;
  if (HAL_RCC_OscConfig(&RCC_OscInitStruct) != HAL_OK)
  {
    Error_Handler();
  }

  /** Initializes the CPU, AHB and APB buses clocks
  */
  RCC_ClkInitStruct.ClockType = RCC_CLOCKTYPE_HCLK|RCC_CLOCKTYPE_SYSCLK
                              |RCC_CLOCKTYPE_PCLK1|RCC_CLOCKTYPE_PCLK2;
  RCC_ClkInitStruct.SYSCLKSource = RCC_SYSCLKSOURCE_PLLCLK;
  RCC_ClkInitStruct.AHBCLKDivider = RCC_SYSCLK_DIV1;
  RCC_ClkInitStruct.APB1CLKDivider = RCC_HCLK_DIV1;
  RCC_ClkInitStruct.APB2CLKDivider = RCC_HCLK_DIV1;

  if (HAL_RCC_ClockConfig(&RCC_ClkInitStruct, FLASH_LATENCY_4) != HAL_OK)
  {
    Error_Handler();
  }
}

void Error_Handler(void)
{
  __disable_irq();
  while (1)
  {
  }
}
